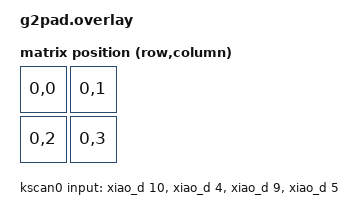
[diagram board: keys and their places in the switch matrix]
/*
 * G2Pad shield for the Seeed XIAO nRF52840.
 * Four MX switches, each wired from a XIAO pin to GND (no matrix, no diodes).
 *
 *   SW1 BACK   (top-left)     -> D10 (P1.15)
 *   SW2 UP     (top-right)    -> D4  (P0.04)
 *   SW3 SELECT (bottom-left)  -> D9  (P1.14)
 *   SW4 DOWN   (bottom-right) -> D5  (P0.05)
 */
#include <physical_layouts.dtsi>
#include <dt-bindings/zmk/matrix_transform.h>

/* D4/D5 and D9/D10 are used as plain GPIO, so free them from I2C/SPI. */
&xiao_i2c { status = "disabled"; };
&xiao_spi { status = "disabled"; };

/ {
    chosen {
        zmk,kscan = &kscan0;
        zmk,physical-layout = &g2pad_layout;
    };

    kscan0: kscan {
        compatible = "zmk,kscan-gpio-direct";
        wakeup-source;
        input-gpios
            = <&xiao_d 10 (GPIO_ACTIVE_LOW | GPIO_PULL_UP)>
            , <&xiao_d 4  (GPIO_ACTIVE_LOW | GPIO_PULL_UP)>
            , <&xiao_d 9  (GPIO_ACTIVE_LOW | GPIO_PULL_UP)>
            , <&xiao_d 5  (GPIO_ACTIVE_LOW | GPIO_PULL_UP)>
            ;
    };

    default_transform: keymap_transform_0 {
        compatible = "zmk,matrix-transform";
        rows = <1>;
        columns = <4>;
        map = <RC(0,0) RC(0,1) RC(0,2) RC(0,3)>;
    };

    g2pad_layout: g2pad_layout {
        compatible = "zmk,physical-layout";
        display-name = "G2Pad 2x2";
        kscan = <&kscan0>;
        transform = <&default_transform>;
        keys  //                     w   h   x   y   rot rx  ry
            = <&key_physical_attrs 100 100   0   0   0   0   0>
            , <&key_physical_attrs 100 100 100   0   0   0   0>
            , <&key_physical_attrs 100 100   0 100   0   0   0>
            , <&key_physical_attrs 100 100 100 100   0   0   0>
            ;
    };
};
